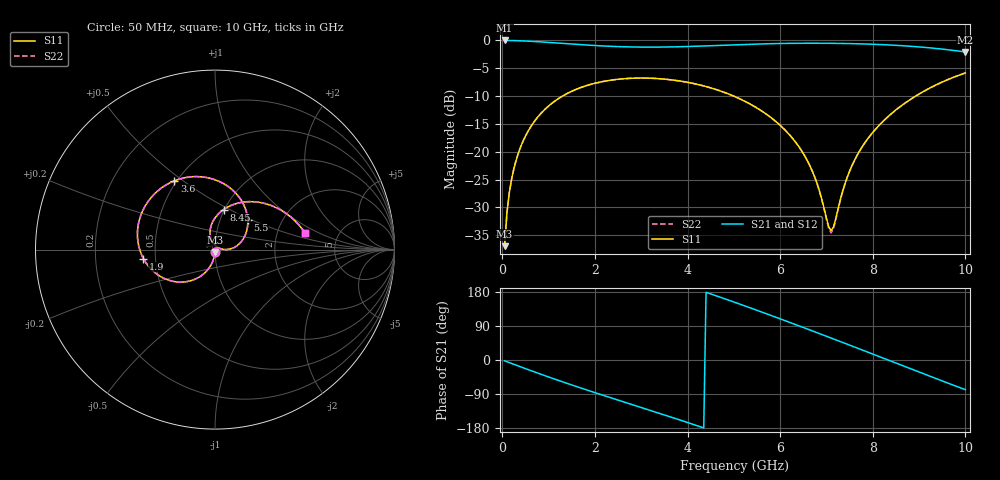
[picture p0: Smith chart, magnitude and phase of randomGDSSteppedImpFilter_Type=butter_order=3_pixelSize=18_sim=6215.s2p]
! freq	dB(S11)	phase(S11)	dB(S12)	phase(S12)
!  dB(S21)	phase(S21)	dB(S22)	phase(S22)
!S-par simulation data
#  GHz  S  DB  R 50
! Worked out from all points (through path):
!   200 points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, 50 MHz to 10 GHz, reference 50 ohm
!   highest |S21| = 0.00 dB at 50 MHz (marker M1); lowest = -2.1 dB at 10 GHz (marker M2)
!   group delay of S21, straight-line fit = 121 ps
!   lowest |S11| = -37.0 dB at 50 MHz (marker M3), VSWR 1.03, Z = 49.9 - j1.41 ohm
!   |S11| at or under -10 dB: start of sweep to 1.299 GHz; 4.997 GHz to 8.926 GHz (3.93 GHz wide, 56.5 % of centre)
!   |S22| runs from -37.0 to -5.8 dB; largest |S21 - S12| = 0
!   S11 on the Smith chart (normalised r, x): 50 MHz: 1.00, -0.03; 1.9 GHz: 0.43, -0.05; 3.6 GHz: 0.49, +0.46; 5.5 GHz: 1.35, +0.48; 8.45 GHz: 0.99, +0.47; 10 GHz: 2.89, +0.71
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0.05  -36.98 -92.2  -0.00 -2.3  -0.00 -2.3  -36.98 -92.2
0.1  -30.97 -94.6  -0.00 -4.6  -0.00 -4.6  -30.97 -94.6
0.2  -24.98 -99.3  -0.02 -9.2  -0.02 -9.2  -24.98 -99.3
0.5  -17.20 -113.1  -0.10 -22.8  -0.10 -22.8  -17.20 -113.1
1.15  -10.80 -141.9  -0.44 -51.2  -0.44 -51.2  -10.80 -141.9
1.75  -8.30 -166.8  -0.79 -76.1  -0.79 -76.1  -8.30 -166.8
1.9  -7.92 -172.8  -0.86 -82.1  -0.86 -82.1  -7.92 -172.8
2.6  -6.90 159.6  -1.13 -109.7  -1.13 -109.7  -6.90 159.6
3.4  -6.88 128.5  -1.19 -140.9  -1.19 -140.9  -6.88 128.5
3.6  -7.03 120.6  -1.17 -148.8  -1.17 -148.8  -7.03 120.6
4.35  -8.18 90.5  -0.99 -179.3  -0.99 -179.3  -8.18 90.4
5.05  -10.19 61.4  -0.77 151.0  -0.77 151.0  -10.19 61.3
5.5  -12.15 42.5  -0.65 131.2  -0.65 131.2  -12.15 42.3
6.1  -16.06 18.0  -0.53 104.2  -0.53 104.2  -16.06 17.7
6.7  -23.60 0.5  -0.50 76.6  -0.50 76.6  -23.62 -0.2
7.1  -34.21 54.4  -0.51 58.0  -0.51 58.0  -34.59 54.2
7.4  -25.74 109.0  -0.55 44.0  -0.55 44.0  -25.80 110.0
7.6  -21.64 108.3  -0.58 34.6  -0.58 34.6  -21.66 109.0
8.35  -13.54 81.9  -0.81 -0.9  -0.81 -0.9  -13.55 82.2
8.45  -12.83 77.7  -0.85 -5.6  -0.85 -5.6  -12.83 78.0
9.3  -8.26 40.8  -1.38 -45.9  -1.38 -45.9  -8.27 41.0
10  -5.84 10.3  -2.07 -78.4  -2.07 -78.4  -5.84 10.5
